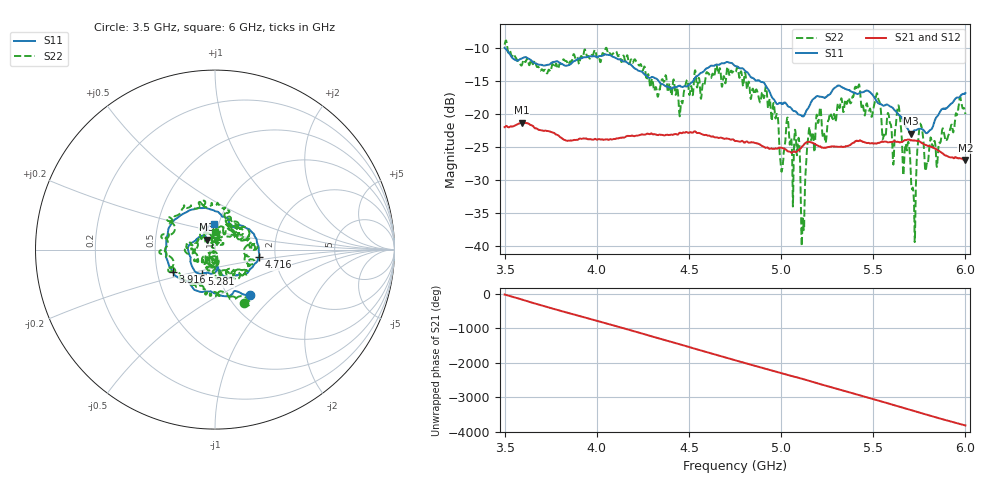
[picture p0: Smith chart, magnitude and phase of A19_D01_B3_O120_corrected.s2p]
! Created with skrf 1.9.0 (http://scikit-rf.org).
# Hz S RI R 50.0
!freq ReS11 ImS11 ReS21 ImS21 ReS12 ImS12 ReS22 ImS22
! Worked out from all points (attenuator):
!   1601 points, 3.5 GHz to 6 GHz, reference 50 ohm
!   highest |S21| = -21.27 dB at 3.592 GHz (marker M1); lowest = -26.9 dB at 6 GHz (marker M2)
!   lowest |S11| = -22.9 dB at 5.705 GHz (marker M3), VSWR 1.15, Z = 45.3 + j4.96 ohm
!   |S11| at or under -10 dB: 3.503 GHz to end of sweep
!   |S22| runs from -40.0 to -8.8 dB; largest |S21 - S12| = 0.0013
!   S11 on the Smith chart (normalised r, x): 3.5 GHz: 1.26, -0.71; 3.916 GHz: 0.60, -0.16; 4.716 GHz: 1.64, -0.15; 5.281 GHz: 0.83, -0.23; 6 GHz: 0.95, +0.28
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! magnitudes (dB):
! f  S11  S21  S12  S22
! 3.5 GHz  -9.9  -21.9  -21.9  -9.4
! 3.592 GHz  -11.5  -21.3  -21.3  -12.6
! 3.916 GHz  -11.5  -23.7  -23.7  -11.2
! 3.917 GHz  -11.5  -23.7  -23.7  -11.2
! 4.334 GHz  -14.9  -23.2  -23.1  -17.1
! 4.716 GHz  -12.1  -23.7  -23.8  -13.5
! 4.75 GHz  -12.7  -24.1  -24.0  -13.5
! 4.969 GHz  -18.1  -25.2  -25.2  -20.6
! 5.003 GHz  -18.4  -25.1  -25.1  -28.7
! 5.086 GHz  -19.8  -25.7  -25.6  -26.2
! 5.117 GHz  -20.3  -24.8  -24.8  -35.8
! 5.145 GHz  -19.2  -24.2  -24.2  -23.8
! 5.167 GHz  -17.9  -24.3  -24.3  -23.3
! 5.281 GHz  -16.3  -24.9  -24.8  -20.7
! 5.412 GHz  -16.9  -24.0  -24.1  -16.2
! 5.584 GHz  -18.7  -24.2  -24.2  -20.1
! 5.639 GHz  -20.1  -24.2  -24.2  -18.9
! 5.705 GHz  -22.9  -24.0  -24.0  -29.6
! 5.719 GHz  -22.5  -24.0  -24.0  -32.2
! 5.756 GHz  -22.2  -24.2  -24.2  -21.5
! 5.789 GHz  -22.9  -24.7  -24.7  -27.8
! 6 GHz  -16.8  -26.9  -26.9  -20.0
